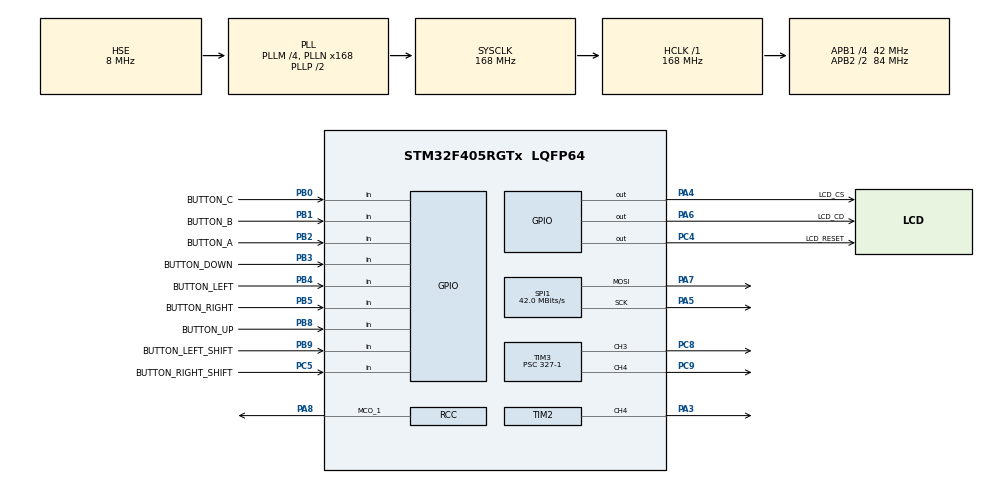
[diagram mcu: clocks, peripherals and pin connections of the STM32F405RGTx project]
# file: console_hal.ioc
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Dma.Request0=SPI1_TX
Dma.SPI1_TX.0.Direction=DMA_MEMORY_TO_PERIPH
Dma.SPI1_TX.0.FIFOMode=DMA_FIFOMODE_DISABLE
Dma.SPI1_TX.0.Instance=DMA2_Stream3
Dma.SPI1_TX.0.MemDataAlignment=DMA_MDATAALIGN_BYTE
Dma.SPI1_TX.0.MemInc=DMA_MINC_ENABLE
Dma.SPI1_TX.0.Mode=DMA_NORMAL
Dma.SPI1_TX.0.PeriphDataAlignment=DMA_PDATAALIGN_BYTE
Dma.SPI1_TX.0.PeriphInc=DMA_PINC_DISABLE
Dma.SPI1_TX.0.Priority=DMA_PRIORITY_MEDIUM
FREERTOS.CountingSemaphores01=button_a,255,Dynamic,NULL,0;button_b,255,Dynamic,NULL,0;button_c,255,Dynamic,NULL,0;button_up,255,Dynamic,NULL,0;button_down,255,Dynamic,NULL,0;button_left,255,Dynamic,NULL,0;button_right,255,Dynamic,NULL,0
FREERTOS.Tasks01=MainTask,0,512,StartDefaultTask,Default,NULL,Dynamic,NULL,NULL;Periphery,0,512,Peryphery,Default,NULL,Dynamic,NULL,NULL;Task03,-3,512,Menu,Default,NULL,Dynamic,NULL,NULL
FREERTOS.configMINIMAL_STACK_SIZE=512
FREERTOS.configUSE_COUNTING_SEMAPHORES=1
FREERTOS.configUSE_NEWLIB_REENTRANT=1
Mcu.Family=STM32F4
Mcu.Name=STM32F405RGTx
Mcu.Package=LQFP64
NVIC.DMA2_Stream3_IRQn=true\:5\:0\:false\:false\:true\:false\:false\:true\:true
NVIC.PriorityGroup=NVIC_PRIORITYGROUP_4
PA13.Mode=Serial_Wire
PA13.Signal=SYS_JTMS-SWDIO
PA14.Mode=Serial_Wire
PA14.Signal=SYS_JTCK-SWCLK
PA3.Signal=S_TIM2_CH4
PA4.GPIO_Label=LCD_CS
PA4.Signal=GPIO_Output
PA5.Mode=TX_Only_Simplex_Unidirect_Master
PA5.Signal=SPI1_SCK
PA6.GPIO_Label=LCD_CD
PA6.GPIO_Speed=GPIO_SPEED_FREQ_VERY_HIGH
PA6.Signal=GPIO_Output
PA7.Mode=TX_Only_Simplex_Unidirect_Master
PA7.Signal=SPI1_MOSI
PA8.Mode=Clock-out-1
PA8.Signal=RCC_MCO_1
PB0.GPIO_Label=BUTTON_C
PB0.Signal=GPIO_Input
PB1.GPIO_Label=BUTTON_B
PB1.Signal=GPIO_Input
PB2.GPIO_Label=BUTTON_A
PB2.Signal=GPIO_Input
PB3.GPIO_Label=BUTTON_DOWN
PB3.Signal=GPIO_Input
PB4.GPIO_Label=BUTTON_LEFT
PB4.Signal=GPIO_Input
PB5.GPIO_Label=BUTTON_RIGHT
PB5.Signal=GPIO_Input
PB8.GPIO_Label=BUTTON_UP
PB8.Signal=GPIO_Input
PB9.GPIO_Label=BUTTON_LEFT_SHIFT
PB9.Signal=GPIO_Input
PC14-OSC32_IN.Mode=LSE-External-Oscillator
PC14-OSC32_IN.Signal=RCC_OSC32_IN
PC15-OSC32_OUT.Mode=LSE-External-Oscillator
PC15-OSC32_OUT.Signal=RCC_OSC32_OUT
PC4.GPIO_Label=LCD_RESET
PC4.GPIO_Speed=GPIO_SPEED_FREQ_VERY_HIGH
PC4.Signal=GPIO_Output
PC5.GPIO_Label=BUTTON_RIGHT_SHIFT
PC5.Signal=GPIO_Input
PC8.GPIO_ModeDefaultPP=GPIO_MODE_AF_OD
PC8.GPIO_Speed=GPIO_SPEED_FREQ_MEDIUM
PC8.Signal=S_TIM3_CH3
PC9.GPIO_ModeDefaultPP=GPIO_MODE_AF_OD
PC9.GPIO_Speed=GPIO_SPEED_FREQ_MEDIUM
PC9.Signal=S_TIM3_CH4
PH0-OSC_IN.Mode=HSE-External-Oscillator
PH0-OSC_IN.Signal=RCC_OSC_IN
PH1-OSC_OUT.Mode=HSE-External-Oscillator
PH1-OSC_OUT.Signal=RCC_OSC_OUT
ProjectManager.HeapSize=0x200
ProjectManager.StackSize=0x400
ProjectManager.TargetToolchain=STM32CubeIDE
RCC.48MHZClocksFreq_Value=84000000
RCC.AHBFreq_Value=168000000
RCC.APB1CLKDivider=RCC_HCLK_DIV4
RCC.APB1Freq_Value=42000000
RCC.APB1TimFreq_Value=84000000
RCC.APB2CLKDivider=RCC_HCLK_DIV2
RCC.APB2Freq_Value=84000000
RCC.APB2TimFreq_Value=168000000
RCC.CortexFreq_Value=168000000
RCC.HCLKFreq_Value=168000000
RCC.HSE_VALUE=8000000
RCC.HSI_VALUE=16000000
RCC.PLLI2SN=82
RCC.PLLM=4
RCC.PLLN=168
RCC.PLLSourceVirtual=RCC_PLLSOURCE_HSE
RCC.SYSCLKFreq_VALUE=168000000
RCC.SYSCLKSource=RCC_SYSCLKSOURCE_PLLCLK
RCC.VCOOutputFreq_Value=336000000
SH.S_TIM2_CH4.0=TIM2_CH4,PWM Generation4 CH4
SH.S_TIM3_CH3.0=TIM3_CH3,PWM Generation3 CH3
SH.S_TIM3_CH4.0=TIM3_CH4,PWM Generation4 CH4
SPI1.BaudRatePrescaler=SPI_BAUDRATEPRESCALER_2
SPI1.CalculateBaudRate=42.0 MBits/s
SPI1.Direction=SPI_DIRECTION_2LINES
SPI1.Mode=SPI_MODE_MASTER
SPI1.VirtualType=VM_MASTER
TIM2.AutoReloadPreload=TIM_AUTORELOAD_PRELOAD_ENABLE
TIM2.Channel-PWM\ Generation4\ CH4=TIM_CHANNEL_4
TIM2.OCMode_PWM-PWM\ Generation4\ CH4=TIM_OCMODE_PWM2
TIM2.Period=255-1
TIM2.Prescaler=327
TIM2.Pulse-PWM\ Generation4\ CH4=1
TIM3.Channel-PWM\ Generation3\ CH3=TIM_CHANNEL_3
TIM3.Channel-PWM\ Generation4\ CH4=TIM_CHANNEL_4
TIM3.OCMode_PWM-PWM\ Generation3\ CH3=TIM_OCMODE_PWM2
TIM3.OCMode_PWM-PWM\ Generation4\ CH4=TIM_OCMODE_PWM2
TIM3.Period=255-1
TIM3.Prescaler=327-1
TIM3.Pulse-PWM\ Generation3\ CH3=10
TIM3.Pulse-PWM\ Generation4\ CH4=10
VP_FREERTOS_VS_CMSIS_V1.Mode=CMSIS_V1
VP_TIM2_VS_ClockSourceINT.Mode=Internal
VP_TIM3_VS_ClockSourceINT.Mode=Internal
board=custom

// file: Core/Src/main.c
/* USER CODE BEGIN Header */
/**
  ******************************************************************************
  * @file           : main.c
  * @brief          : Main program body
  ******************************************************************************
  * @attention
  *
  * Copyright (c) 2025 STMicroelectronics.
  * All rights reserved.
  *
  * This software is licensed under terms that can be found in the LICENSE file
  * in the root directory of this software component.
  * If no LICENSE file comes with this software, it is provided AS-IS.
  *
  ******************************************************************************
  */
/* USER CODE END Header */
#include "main.h"
#include "cmsis_os.h"
#include "dma.h"
#include "spi.h"
#include "tim.h"
#include "gpio.h"

void SystemClock_Config(void);
void MX_FREERTOS_Init(void);

int main(void)
{

  /* MCU Configuration--------------------------------------------------------*/

  /* Reset of all peripherals, Initializes the Flash interface and the Systick. */
  HAL_Init();

  /* Configure the system clock */
  SystemClock_Config();

  /* Initialize all configured peripherals */
  MX_GPIO_Init();
  MX_DMA_Init();
  MX_SPI1_Init();
  MX_TIM2_Init();
  MX_TIM3_Init();
  /* USER CODE BEGIN 2 */
  LcdInit();
  LcdGraphicsClear(LCD_Color_White);
  LcdGraphicsRedraw();
  /* USER CODE END 2 */

  /* Call init function for freertos objects (in cmsis_os2.c) */
  MX_FREERTOS_Init();

  /* Start scheduler */
  osKernelStart();

  /* We should never get here as control is now taken by the scheduler */

  /* Infinite loop */
  while (1)
  {

  }
}

void SystemClock_Config(void)
{
  RCC_OscInitTypeDef RCC_OscInitStruct = {0};
  RCC_ClkInitTypeDef RCC_ClkInitStruct = {0};

  /** Configure the main internal regulator output voltage
  */
  __HAL_RCC_PWR_CLK_ENABLE();
  __HAL_PWR_VOLTAGESCALING_CONFIG(PWR_REGULATOR_VOLTAGE_SCALE1);

  /** Initializes the RCC Oscillators according to the specified parameters
  * in the RCC_OscInitTypeDef structure.
  */
  RCC_OscInitStruct.OscillatorType = RCC_OSCILLATORTYPE_HSI|RCC_OSCILLATORTYPE_HSE;
  RCC_OscInitStruct.HSEState = RCC_HSE_ON;
  RCC_OscInitStruct.HSIState = RCC_HSI_ON;
  RCC_OscInitStruct.HSICalibrationValue = RCC_HSICALIBRATION_DEFAULT;
  RCC_OscInitStruct.PLL.PLLState = RCC_PLL_ON;
  RCC_OscInitStruct.PLL.PLLSource = RCC_PLLSOURCE_HSE;
  RCC_OscInitStruct.PLL.PLLM = 4;
  RCC_OscInitStruct.PLL.PLLN = 168;
  RCC_OscInitStruct.PLL.PLLP = RCC_PLLP_DIV2;
  RCC_OscInitStruct.PLL.PLLQ = 4;
  if (HAL_RCC_OscConfig(&RCC_OscInitStruct) != HAL_OK)
  {
    Error_Handler();
  }

  /** Initializes the CPU, AHB and APB buses clocks
  */
  RCC_ClkInitStruct.ClockType = RCC_CLOCKTYPE_HCLK|RCC_CLOCKTYPE_SYSCLK
                              |RCC_CLOCKTYPE_PCLK1|RCC_CLOCKTYPE_PCLK2;
  RCC_ClkInitStruct.SYSCLKSource = RCC_SYSCLKSOURCE_PLLCLK;
  RCC_ClkInitStruct.AHBCLKDivider = RCC_SYSCLK_DIV1;
  RCC_ClkInitStruct.APB1CLKDivider = RCC_HCLK_DIV4;
  RCC_ClkInitStruct.APB2CLKDivider = RCC_HCLK_DIV2;

  if (HAL_RCC_ClockConfig(&RCC_ClkInitStruct, FLASH_LATENCY_5) != HAL_OK)
  {
    Error_Handler();
  }
  HAL_RCC_MCOConfig(RCC_MCO1, RCC_MCO1SOURCE_HSI, RCC_MCODIV_1);
}

void Error_Handler(void)
{
  __disable_irq();
  while (1)
  {
  }
}

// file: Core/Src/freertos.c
/* USER CODE BEGIN Header */
/**
  ******************************************************************************
  * File Name          : freertos.c
  * Description        : Code for freertos applications
  ******************************************************************************
  * @attention
  *
  * Copyright (c) 2025 STMicroelectronics.
  * All rights reserved.
  *
  * This software is licensed under terms that can be found in the LICENSE file
  * in the root directory of this software component.
  * If no LICENSE file comes with this software, it is provided AS-IS.
  *
  ******************************************************************************
  */
/* USER CODE END Header */

#include "FreeRTOS.h"
#include "task.h"
#include "main.h"
#include "cmsis_os.h"

/* USER CODE BEGIN Variables */
char vbuff[64], vbuff1[32];
uint32_t c=0;
BUTTONS_TypeDef buttons;
uint16_t led_value =0;
/* USER CODE END Variables */
osThreadId MainTaskHandle;
osThreadId PeripheryHandle;
osThreadId Task03Handle;
osSemaphoreId button_aHandle;
osSemaphoreId button_bHandle;
osSemaphoreId button_cHandle;
osSemaphoreId button_upHandle;
osSemaphoreId button_downHandle;
osSemaphoreId button_leftHandle;
osSemaphoreId button_rightHandle;

void StartDefaultTask(void const * argument);
void Peryphery(void const * argument);
void Menu(void const * argument);

void MX_FREERTOS_Init(void); /* (MISRA C 2004 rule 8.1) */

/* GetIdleTaskMemory prototype (linked to static allocation support) */
void vApplicationGetIdleTaskMemory( StaticTask_t **ppxIdleTaskTCBBuffer, StackType_t **ppxIdleTaskStackBuffer, uint32_t *pulIdleTaskStackSize );

/* USER CODE BEGIN GET_IDLE_TASK_MEMORY */
static StaticTask_t xIdleTaskTCBBuffer;
static StackType_t xIdleStack[configMINIMAL_STACK_SIZE];

void vApplicationGetIdleTaskMemory( StaticTask_t **ppxIdleTaskTCBBuffer, StackType_t **ppxIdleTaskStackBuffer, uint32_t *pulIdleTaskStackSize )
{
  *ppxIdleTaskTCBBuffer = &xIdleTaskTCBBuffer;
  *ppxIdleTaskStackBuffer = &xIdleStack[0];
  *pulIdleTaskStackSize = configMINIMAL_STACK_SIZE;
  /* place for user code */
}
/* USER CODE END GET_IDLE_TASK_MEMORY */

void MX_FREERTOS_Init(void) {

  /* Create the semaphores(s) */
  /* definition and creation of button_a */
  osSemaphoreDef(button_a);
  button_aHandle = osSemaphoreCreate(osSemaphore(button_a), 255);

  /* definition and creation of button_b */
  osSemaphoreDef(button_b);
  button_bHandle = osSemaphoreCreate(osSemaphore(button_b), 255);

  /* definition and creation of button_c */
  osSemaphoreDef(button_c);
  button_cHandle = osSemaphoreCreate(osSemaphore(button_c), 255);

  /* definition and creation of button_up */
  osSemaphoreDef(button_up);
  button_upHandle = osSemaphoreCreate(osSemaphore(button_up), 255);

  /* definition and creation of button_down */
  osSemaphoreDef(button_down);
  button_downHandle = osSemaphoreCreate(osSemaphore(button_down), 255);

  /* definition and creation of button_left */
  osSemaphoreDef(button_left);
  button_leftHandle = osSemaphoreCreate(osSemaphore(button_left), 255);

  /* definition and creation of button_right */
  osSemaphoreDef(button_right);
  button_rightHandle = osSemaphoreCreate(osSemaphore(button_right), 255);

  /* Create the thread(s) */
  /* definition and creation of MainTask */
  osThreadDef(MainTask, StartDefaultTask, osPriorityNormal, 0, 512);
  MainTaskHandle = osThreadCreate(osThread(MainTask), NULL);

  /* definition and creation of Periphery */
  osThreadDef(Periphery, Peryphery, osPriorityNormal, 0, 512);
  PeripheryHandle = osThreadCreate(osThread(Periphery), NULL);

  /* definition and creation of Task03 */
  osThreadDef(Task03, Menu, osPriorityIdle, 0, 512);
  Task03Handle = osThreadCreate(osThread(Task03), NULL);

}

void StartDefaultTask(void const * argument)
{
  /* USER CODE BEGIN StartDefaultTask */

  /* Infinite loop */
  for(;;)
  {
	  xsprintf(vbuff, "c=%d", c++);
	  LcdSizePutStr(vbuff, 0*5*1, 0*7*2, 1, 2, LCD_Color_Black);

		BUTTON_SetValue(buttons.A.value, buttons.C.value, 0, 160, &led_value);
		if(buttons.B.value){led_value = 0;}
		LedLightSet(led_value, led_value);

		osDelay(50);
  }
  /* USER CODE END StartDefaultTask */
}

void Peryphery(void const * argument)
{
  /* USER CODE BEGIN Peryphery */
	uint8_t led_pwm = 0, dir = 1;
  /* Infinite loop */
  for(;;)
  {
	LcdGraphicsRedrawDMA();
	BUTTON_GetState(&buttons);
	if(led_pwm == 255){dir=0;}
	if(led_pwm == 0){dir=1;}
	if(dir == 1){led_pwm+=3;}else{led_pwm-=3;}
	TIM2->CCR4 = led_pwm;
	osDelay(40);
  }
  /* USER CODE END Peryphery */
}

void Menu(void const * argument)
{
  /* USER CODE BEGIN Menu */
	MenuInit();
  /* Infinite loop */
  for(;;)
  {
	if(buttons.Down.state){buttons.Down.state = 0; MenuDown();}
	if(buttons.Up.state){buttons.Up.state = 0; MenuUp();}
	if(buttons.Left.state){buttons.Left.state = 0; MenuLeft();}
	if(buttons.Right.state){buttons.Right.state = 0; MenuRight();}

	xsprintf(vbuff, "%-12S %-03D", MenuGetItem()->Text, MenuGetItem()->Value);
	LcdSizePutStr(vbuff, 0, 1*8*2, 1, 2, LCD_Color_Black);
    osDelay(40);
  }
  /* USER CODE END Menu */
}
